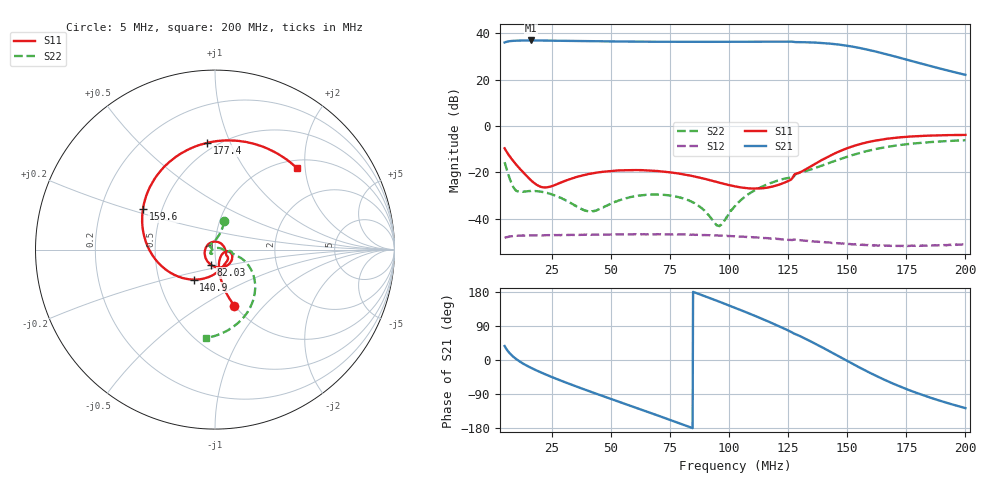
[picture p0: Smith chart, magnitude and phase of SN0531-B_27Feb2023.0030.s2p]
# Hz S DB R 50
! CMT, M5045, 22160017, 22.4.3/2
! Date: 2/27/2023 00:30:52
! Data: Format (Calibration Info)
! Freq	S11:dB/Ang(F2)	S21:dB/Ang(F2)	S12:dB/Ang(F2)	S22:dB/Ang(F2)
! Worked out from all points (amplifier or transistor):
!   1001 points, 5 MHz to 200 MHz, reference 50 ohm
!   highest |S21| = 37.0 dB at 16.31 MHz (marker M1)
!   |S21| within 3 dB of that: start of sweep to 154 MHz
!   unconditionally stable (mu >= 1): start of sweep to end of sweep
!   at 37.37 MHz: K = 1.78, MAG = 36.8 dB, |S12| = -47.0 dB
!   at 102.5 MHz: K = 1.95, MAG = 36.4 dB, |S12| = -47.6 dB
!   at 200 MHz: K = 6.55, MAG = 25.5 dB, |S12| = -51.1 dB
!   S11 on the Smith chart (normalised r, x): 5 MHz: 1.00, -0.70; 82.03 MHz: 0.94, -0.16; 140.9 MHz: 0.75, -0.26; 159.6 MHz: 0.39, +0.22; 177.4 MHz: 0.45, +0.83; 200 MHz: 1.18, +1.81
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5000000  -9.62 -70.8  36.09 36.8  -48.34 39.6  -15.60 71.8
7145000  -13.07 -76.7  36.64 17.9  -47.67 20.6  -22.67 77.1
9290000  -15.91 -78.8  36.84 5.4  -47.48 8.0  -27.27 100.6
1.631e7  -23.54 -68.5  36.96 -21.1  -47.25 -18.4  -27.99 143.8
2.645e7  -25.38 -15.6  36.87 -48.6  -47.06 -45.0  -30.05 148.4
3.7565e7  -21.42 -9.6  36.71 -75.0  -46.91 -69.5  -35.86 171.4
4.5365e7  -19.91 -18.9  36.60 -92.5  -46.84 -85.9  -35.81 -143.9
5.3165e7  -19.17 -31.9  36.52 -109.8  -46.79 -101.8  -32.22 -128.1
7.013e7  -19.47 -69.0  36.41 -147.1  -46.73 -135.7  -29.55 -138.0
8.2025e7  -21.10 -104.2  36.38 -173.9  -46.91 -159.4  -31.74 -156.2
9.236e7  -23.49 -146.3  36.37 162.2  -47.20 178.9  -39.79 160.4
1.025e8  -26.07 155.9  36.39 137.8  -47.62 156.4  -34.49 29.0
1.12055e8  -26.99 85.9  36.42 113.6  -48.12 134.3  -27.10 2.8
1.20245e8  -25.61 18.0  36.42 91.6  -48.74 113.6  -23.68 -8.1
1.2629e8  -23.04 -26.1  36.44 73.9  -49.23 97.8  -22.40 -11.5
1.35065e8  -17.12 -92.9  36.10 47.4  -49.81 68.1  -18.59 -14.7
1.40915e8  -13.74 -125.6  35.75 28.4  -50.20 47.4  -16.48 -17.8
1.493e8  -9.83 -166.2  34.79 -0.1  -50.81 16.1  -13.44 -26.3
1.59635e8  -6.73 150.7  32.76 -34.0  -51.47 -23.3  -10.47 -41.6
1.6763e8  -5.38 122.6  30.74 -57.5  -51.65 -48.9  -8.88 -54.5
1.7738e8  -4.49 94.0  28.06 -82.3  -51.69 -74.8  -7.60 -69.1
2e8  -3.83 44.7  22.11 -127.0  -51.08 -115.3  -6.12 -95.5
